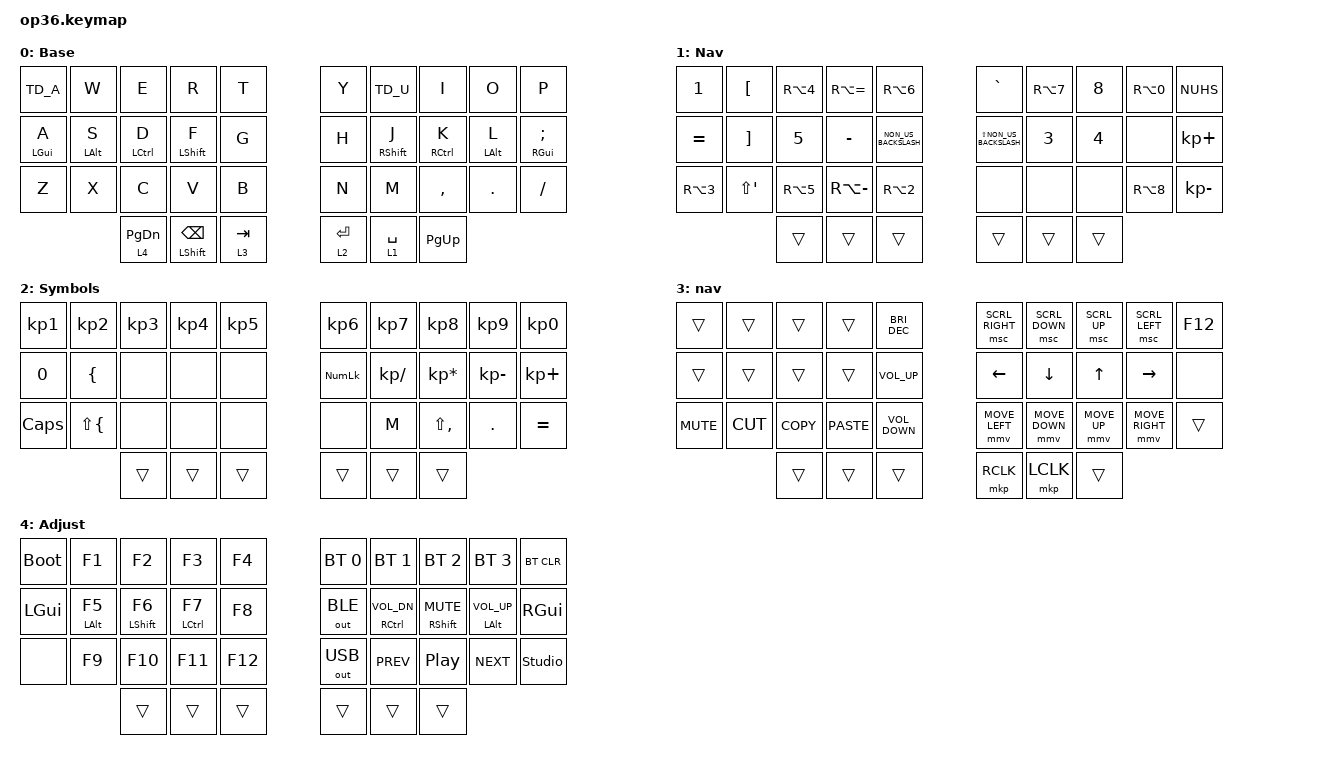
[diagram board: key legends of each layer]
#include "keys_ru.h"
#include <behaviors.dtsi>
#include <dt-bindings/zmk/bt.h>
#include <dt-bindings/zmk/keys.h>
#include <dt-bindings/zmk/outputs.h>
#include <dt-bindings/zmk/pointing.h>

&mt {
    quick-tap-ms = <200>;
    flavor = "tap-preferred";
    require-prior-idle-ms = <125>;
};

/ {
    behaviors {
        hml: home_row_mod_left {
            compatible = "zmk,behavior-hold-tap";
            #binding-cells = <2>;
            flavor = "balanced";
            require-prior-idle-ms = <110>;
            tapping-term-ms = <170>;
            quick-tap-ms = <120>;
            bindings = <&kp>, <&kp>;

            hold-trigger-key-positions = <5 6 7 8 9 15 16 17 18 19 25 26 27 28 29 33 34 35>;
            hold-trigger-on-release;
        };

        hmr: home_row_mod_right {
            compatible = "zmk,behavior-hold-tap";
            #binding-cells = <2>;
            flavor = "balanced";
            require-prior-idle-ms = <110>;
            tapping-term-ms = <170>;
            quick-tap-ms = <120>;
            bindings = <&kp>, <&kp>;

            hold-trigger-key-positions = <0 1 2 3 4 10 11 12 13 14 20 21 22 23 24 30 31 32>;
            hold-trigger-on-release;
        };

        TD_A: TD_A {
            compatible = "zmk,behavior-tap-dance";
            label = "TD_A";
            #binding-cells = <0>;
            bindings = <&kp Q>, <&kp N0>;

            tapping-term-ms = <220>;
        };

        TD_U: TD_U {
            compatible = "zmk,behavior-tap-dance";
            label = "TD_U";
            #binding-cells = <0>;
            bindings = <&kp U>, <&kp SINGLE_QUOTE>;

            tapping-term-ms = <220>;
        };
    };

    combos {
        compatible = "zmk,combos";

        esc {
            bindings = <&kp ESCAPE>;
            key-positions = <0 10>;
        };

        ced {
            bindings = <&kp NUMBER_9>;
            key-positions = <22 23>;
        };

        eacu {
            bindings = <&kp NUMBER_2>;
            key-positions = <2 12>;
        };

        egrave {
            bindings = <&kp NUMBER_7>;
            key-positions = <3 13>;
        };

        capsword {
            bindings = <&caps_word>;
            key-positions = <13 16>;
        };
    };

    keymap {
        compatible = "zmk,keymap";

        base {
            bindings = <
  &TD_A        &kp W        &kp E         &kp R            &kp T                                           &kp Y        &TD_U         &kp I         &kp O        &kp P
  &hml LGUI A  &hml LALT S  &hml LCTRL D  &hml LSHFT F     &kp G                                           &kp H        &hmr RSHFT J  &hmr RCTRL K  &hmr LALT L  &hmr RGUI SEMICOLON
  &kp Z        &kp X        &kp C         &kp V            &kp B                                           &kp N        &kp M         &kp COMMA     &kp DOT      &kp SLASH
                                          &lt 4 PAGE_DOWN  &hml LSHFT BACKSPACE  &lt 3 TAB    &lt 2 ENTER  &lt 1 SPACE  &kp PG_UP
            >;

            display-name = "Base";
        };

        sym {
            bindings = <
  &kp N1            &kp LBKT              &kp RA(NUMBER_4)  &kp RA(EQUAL)  &kp RA(N6)                              &kp GRAVE                 &kp RA(N7)    &kp N8        &kp RA(N0)  &kp NUHS
  &kp EQUAL         &kp RBKT              &kp NUMBER_5      &kp MINUS      &kp NON_US_BACKSLASH                    &kp LS(NON_US_BACKSLASH)  &kp NUMBER_3  &kp NUMBER_4  &none       &kp KP_PLUS
  &kp RA(NUMBER_3)  &kp LS(SINGLE_QUOTE)  &kp RA(NUMBER_5)  &kp RA(MINUS)  &kp RA(NUMBER_2)                        &none                     &none         &none         &kp RA(N8)  &kp KP_MINUS
                                                            &trans         &trans                &trans    &trans  &trans                    &trans
            >;

            display-name = "Nav";
        };

        num {
            bindings = <
  &kp KP_NUMBER_1  &kp KP_NUMBER_2     &kp KP_NUMBER_3  &kp KP_NUMBER_4  &kp KP_NUMBER_5                    &kp KP_NUMBER_6  &kp KP_NUMBER_7  &kp KP_NUMBER_8  &kp KP_NUMBER_9  &kp KP_NUMBER_0
  &kp NUMBER_0     &kp LEFT_BRACE      &none            &none            &none                              &kp KP_NUMLOCK   &kp KP_SLASH     &kp KP_ASTERISK  &kp KP_MINUS     &kp KP_PLUS
  &kp CAPSLOCK     &kp LS(LEFT_BRACE)  &none            &none            &none                              &none            &kp M            &kp LS(COMMA)    &kp DOT          &kp EQUAL
                                                        &trans           &trans           &trans    &trans  &trans           &trans
            >;

            display-name = "Symbols";
        };

        nav {
            bindings = <
  &trans      &trans     &trans      &trans       &kp C_BRIGHTNESS_DEC                       &msc SCRL_RIGHT  &msc SCRL_DOWN  &msc SCRL_UP  &msc SCRL_LEFT   &kp F12
  &trans      &trans     &trans      &trans       &kp K_VOLUME_UP                            &kp LEFT_ARROW   &kp DOWN_ARROW  &kp UP_ARROW  &kp RIGHT_ARROW  &none
  &kp K_MUTE  &kp K_CUT  &kp K_COPY  &kp K_PASTE  &kp K_VOLUME_DOWN                          &mmv MOVE_LEFT   &mmv MOVE_DOWN  &mmv MOVE_UP  &mmv MOVE_RIGHT  &trans
                                     &trans       &trans                &trans    &mkp RCLK  &mkp LCLK        &trans
            >;
        };

        BT {
            bindings = <
  &bootloader  &kp F1        &kp F2         &kp F3         &kp F4                     &bt BT_SEL 0  &bt BT_SEL 1         &bt BT_SEL 2       &bt BT_SEL 3        &bt BT_CLR
  &kp LGUI     &hml LALT F5  &hml LSHFT F6  &hml LCTRL F7  &kp F8                     &out OUT_BLE  &hmr RCTRL C_VOL_DN  &hmr RSHFT C_MUTE  &hmr LALT C_VOL_UP  &kp RGUI
  &none        &kp F9        &kp F10        &kp F11        &kp F12                    &out OUT_USB  &kp C_PREV           &kp C_PP           &kp C_NEXT          &studio_unlock
                                            &trans         &trans   &trans    &trans  &trans        &trans
            >;

            display-name = "Adjust";
        };
    };
};
